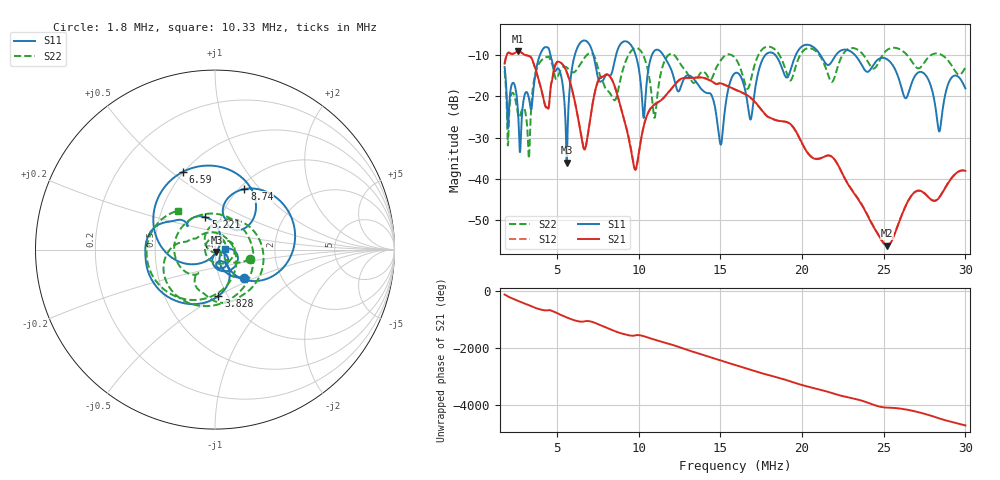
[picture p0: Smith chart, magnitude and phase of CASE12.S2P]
!Agilent Technologies,E5061B,MY49101568,A.02.00
!Date: Wed Mar 01 13:23:43 2023
!Data & Calibration Information:
!Freq	S11:SOLT2(OFF)	S21:SOLT2(OFF)	S12:SOLT2(OFF)	S22:SOLT2(OFF)
# Hz S dB R 50
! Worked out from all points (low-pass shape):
!   1155 points, 1.8 MHz to 30 MHz, reference 50 ohm
!   highest |S21| = -9.14 dB at 2.631 MHz (marker M1); lowest = -56.2 dB at 25.21 MHz (marker M2)
!   |S21| within 3 dB of the highest: start of sweep to 3.581 MHz; 4.939 MHz to 5.3 MHz (361.4 kHz wide, 7.06 % of centre)
!   lowest |S11| = -36.1 dB at 5.612 MHz (marker M3), VSWR 1.03, Z = 50.8 - j1.35 ohm
!   |S11| at or under -10 dB: start of sweep to 3.966 MHz; 11.5 MHz to 17.77 MHz (6.264 MHz wide, 42.8 % of centre); 23.23 MHz to end of sweep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
!   |S22| runs from -35.1 to -8.0 dB; largest |S21 - S12| = 0.0045
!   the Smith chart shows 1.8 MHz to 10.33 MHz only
!   S11 on the Smith chart (normalised r, x): 1.8 MHz: 1.31, -0.43; 3.828 MHz: 0.91, -0.50; 5.221 MHz: 0.84, +0.32; 6.59 MHz: 0.49, +0.55; 8.74 MHz: 1.06, +0.83; 10.33 MHz: 1.12, +0.01
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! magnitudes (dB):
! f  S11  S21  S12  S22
! 1.8 MHz  -12.9  -12.1  -12.1  -13.9
! 2.631 MHz  -24.4  -9.1  -9.1  -24.6
! 3.291 MHz  -20.5  -10.3  -10.3  -35.1
! 3.828 MHz  -11.7  -15.2  -15.3  -12.8
! 5.221 MHz  -14.5  -11.9  -11.8  -13.7
! 5.612 MHz  -36.1  -14.2  -14.3  -13.1
! 6.516 MHz  -6.7  -30.4  -30.1  -11.7
! 6.59 MHz  -6.6  -31.9  -31.7  -11.3
! 7.616 MHz  -16.5  -15.6  -15.6  -14.8
! 8.74 MHz  -8.5  -20.3  -20.2  -18.7
! 9.766 MHz  -9.4  -37.6  -37.6  -8.4
! 10.33 MHz  -25.2  -27.0  -27.0  -10.5
! 11.21 MHz  -8.8  -21.4  -21.4  -17.9
! 15.02 MHz  -31.7  -16.9  -16.9  -11.4
! 15.9 MHz  -14.4  -18.4  -18.4  -10.8
! 16.85 MHz  -25.7  -20.4  -20.4  -16.3
! 17.76 MHz  -10.0  -24.4  -24.5  -8.1
! 20.62 MHz  -7.9  -34.8  -34.7  -8.5
! 25.21 MHz  -11.1  -56.2  -56.3  -8.8
! 25.31 MHz  -11.4  -56.0  -56.1  -8.6
! 28.39 MHz  -28.5  -44.6  -44.4  -9.8
! 30 MHz  -18.1  -38.1  -38.0  -13.1
